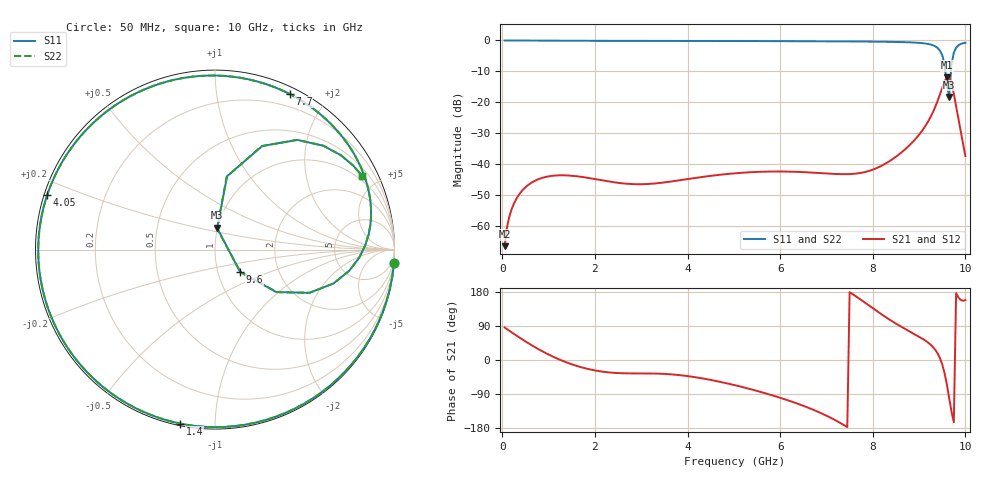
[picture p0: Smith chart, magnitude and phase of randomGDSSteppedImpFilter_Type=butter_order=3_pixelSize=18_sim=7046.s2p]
! freq	dB(S11)	phase(S11)	dB(S12)	phase(S12)
!  dB(S21)	phase(S21)	dB(S22)	phase(S22)
!S-par simulation data
#  GHz  S  DB  R 50
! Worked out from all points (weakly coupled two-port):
!   200 points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, 50 MHz to 10 GHz, reference 50 ohm
!   highest |S21| = -11.86 dB at 9.6 GHz (marker M1); lowest = -66.5 dB at 50 MHz (marker M2)
!   lowest |S11| = -18.3 dB at 9.65 GHz (marker M3), VSWR 1.28, Z = 49.7 + j12.2 ohm
!   |S11| at or under -10 dB: 9.567 GHz to 9.689 GHz (122 MHz wide, 1.27 % of centre)
!   |S22| runs from -18.7 to 0.0 dB; largest |S21 - S12| = 0
!   S11 on the Smith chart (normalised r, x): 50 MHz: 0, -27; 1.4 GHz: 0.01, -0.82; 4.05 GHz: 0.01, +0.16; 7.7 GHz: 0.07, +1.59; 9.6 GHz: 1.28, -0.33; 10 GHz: 0.79, +4.09
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0.05  -0.00 -4.3  -66.53 85.8  -66.53 85.8  -0.00 -4.3
0.2  -0.02 -16.9  -54.64 73.1  -54.64 73.1  -0.02 -16.9
0.45  -0.05 -37.3  -48.22 52.9  -48.22 52.9  -0.05 -37.3
0.9  -0.08 -70.6  -44.28 20.7  -44.28 20.7  -0.08 -70.6
1.4  -0.10 -101.3  -43.65 -6.9  -43.65 -6.9  -0.10 -101.3
1.75  -0.11 -119.1  -44.20 -20.6  -44.20 -20.6  -0.11 -119.1
2.5  -0.12 -150.2  -46.05 -34.5  -46.05 -34.5  -0.12 -150.2
3.4  -0.13 -179.5  -46.09 -36.1  -46.09 -36.1  -0.13 -179.5
4.05  -0.15 162.1  -44.72 -43.3  -44.72 -43.3  -0.15 162.1
5.05  -0.18 135.7  -42.93 -67.3  -42.93 -67.3  -0.18 135.7
6.7  -0.26 92.4  -42.74 -130.6  -42.74 -130.6  -0.26 92.4
7.7  -0.34 64.4  -42.94 162.7  -42.94 162.7  -0.34 64.4
8.35  -0.44 44.5  -39.15 107.5  -39.15 107.5  -0.44 44.5
8.9  -0.68 24.5  -32.24 68.5  -32.24 68.5  -0.68 24.5
9.3  -1.56 1.4  -23.16 34.2  -23.16 34.2  -1.55 1.5
9.5  -4.77 -24.7  -15.30 -11.7  -15.30 -11.7  -4.73 -24.5
9.6  -14.61 -41.5  -11.86 -64.7  -11.86 -64.7  -14.36 -41.7
9.65  -18.27 84.4  -11.87 -100.5  -11.87 -100.5  -18.71 84.0
9.7  -7.64 80.6  -13.80 -136.1  -13.80 -136.1  -7.74 80.9
9.75  -3.94 65.4  -17.26 -164.4  -17.26 -164.4  -3.98 65.7
9.85  -1.55 43.8  -25.47 164.7  -25.47 164.7  -1.56 43.9
10  -0.75 26.6  -37.40 158.2  -37.40 158.2  -0.76 26.7
